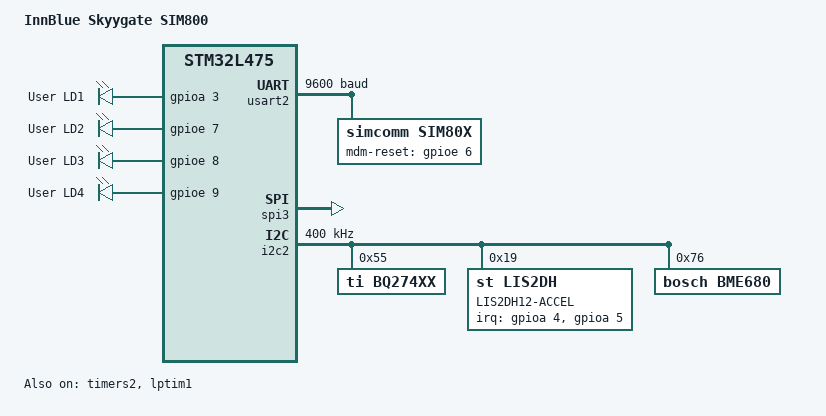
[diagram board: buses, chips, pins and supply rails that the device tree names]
/*
 * Copyright (c) 2020 InnBlue
 *
 * SPDX-License-Identifier: Apache-2.0
 */

/dts-v1/;
#include <st/l4/stm32l475Xg.dtsi>


/ {
	model = "InnBlue Skyygate SIM800";
	compatible = "innblue,skyygate-sim800", "st,stm32l475";

	chosen {
		zephyr,sram = &sram0;
		zephyr,flash = &flash0;
		zephyr,code-partition = &slot0_partition;
	};
	
	leds {
		compatible = "gpio-leds";
		user_led_1: led_1 {
			gpios = <&gpioa 3 GPIO_INT_ACTIVE_HIGH>;
			label = "User LD1";
		};
		user_led_2: led_2 {
			gpios = <&gpioe 7 GPIO_INT_ACTIVE_HIGH>;
			label = "User LD2";
		};
		user_led_3: led_3 {
			gpios = <&gpioe 8 GPIO_INT_ACTIVE_HIGH>;
			label = "User LD3";
		};
		user_led_4: led_4 {
			gpios = <&gpioe 9 GPIO_INT_ACTIVE_HIGH>;
			label = "User LD4";
		};
	};
	
	aliases {
		led0 = &user_led_1;
		led1 = &user_led_2;
		led2 = &user_led_3;
		led3 = &user_led_4;
	};
};

/* Skyygate Sim800 board uses USART2 to 
 * interface with the SIM Modem device. */
&usart2 {
	current-speed = <9600>;
	status = "okay";
	
	/* Enable Hardware Flow Control to ensure that
	 * no data is lost while communicating with modem. */
	hw-flow-control;
	
	/* SIM80x GPIO(s). 
	 * mdm-reset-gpios = PE06 */
	sim80x {
		compatible = "simcomm,sim80x";
		label = "sim80x";
		mdm-reset-gpios = <&gpioe 6 0>; /* GPIO pin to trigger reset of the SIM80x module. */
		status = "okay";
	};
};

&spi3 {
	status = "okay";
	
	/* SCK  = PC10 */
	/* MISO = PC11 */
	/* MOSI = PC12 */
	
	cs-gpios = <&gpiob 5 0>; /* CS = PB5 */
	
 	nrf-ble-controller@0 {
		compatible = "zephyr,bt-hci-spi";
		reg = <0>;
		spi-max-frequency = <400000>;
		label = "NRF_BLE_CTRL";
	
		/* FIXME: These are added simply because the BLE stack won't build
		 * without them. Right now, I don't know how the custom board handles
		 * this. Will be updated once I learn more. OK for now. */
		reset-gpios = <&gpiob 2 0>; /* PB2 = CN1:D8 */ 
		irq-gpios = <&gpioa 15 0>;  /* PA15 = CN1:D9 */
	};	
};

&flash0 {
	/*
	 * For more information, see:
	 * http://docs.zephyrproject.org/latest/guides/dts/index.html#flash-partitions
	 */
	partitions {
		compatible = "fixed-partitions";
		#address-cells = <1>;
		#size-cells = <1>;

		boot_partition: partition@0 {
			label = "mcuboot";
			reg = <0x00000000 0x00010000>;
			read-only;
		};

		/*
		 * The flash starting at offset 0x10000 and ending at
		 * offset 0x1ffff is reserved for use by the application.
		 */

		slot0_partition: partition@20000 {
			label = "image-0";
			reg = <0x00020000 0x0006C000>;
		};
		slot1_partition: partition@8c000 {
			label = "image-1";
			reg = <0x0008C000 0x0006C000>;
		};
		scratch_partition: partition@f8000 {
			label = "image-scratch";
			reg = <0x000F8000 0x00006000>;
		};

		storage_partition: partition@fc000 {
			label = "storage";
			reg = <0x000fc000 0x00004000>;
		};
	};
};

&timers2 {
	status = "okay";
};

&lptim1 {
	status = "okay";
};

&i2c2 {
	status = "okay";
	
  	clock-frequency = <I2C_BITRATE_FAST>; 
/*	clock-frequency = <I2C_BITRATE_STANDARD>; */ 
	
	bq27421@55 {
		compatible = "ti,bq274xx";
		label = "BQ274XX";
		reg = <0x55>;
	};

	lis2dh12-accel@19 {
		compatible = "st,lis2dh";
		reg = <0x19>;
		
		/* LIS2DH has Interrupts on PA4 / PA5. */
		irq-gpios = <&gpioa 4 0>, <&gpioa 5 0>;
		label = "LIS2DH12-ACCEL";
	};	
	
	bme680@76 {
		compatible = "bosch,bme680";
		label = "BME680";
		reg = <0x76>;
	};
};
